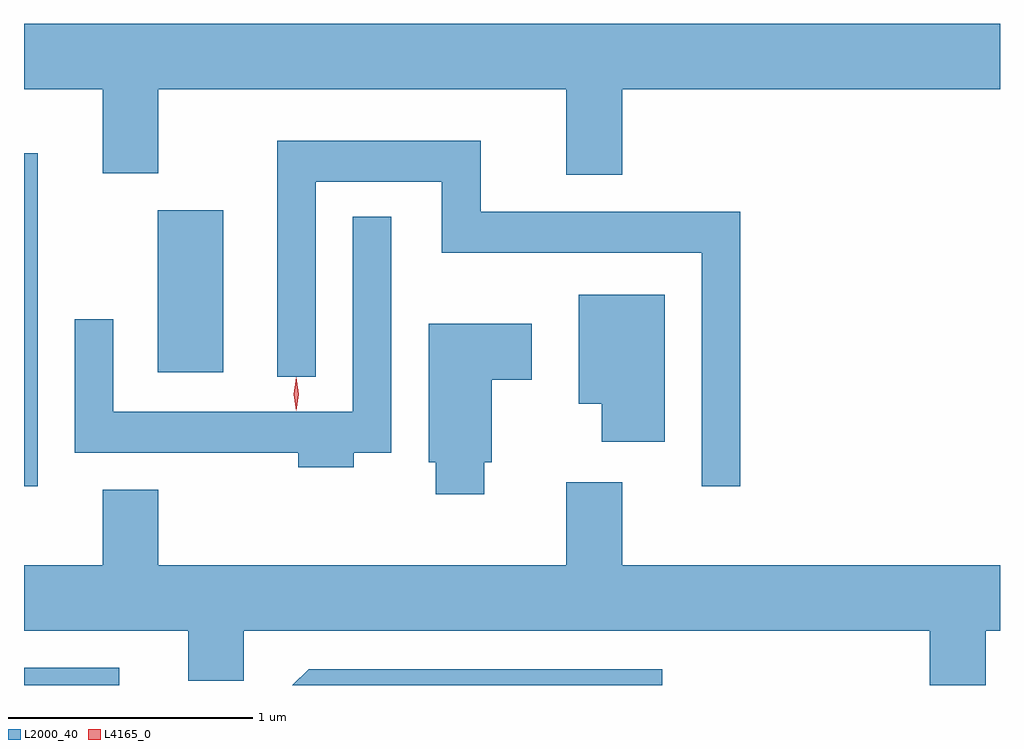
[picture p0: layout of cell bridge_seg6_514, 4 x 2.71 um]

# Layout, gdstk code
import gdstk
lib = gdstk.Library(unit=1e-6, precision=1e-09)
def R(c, l, rs):  # rectangles x0, y0, x1, y1
    for r in rs: c.add(gdstk.rectangle(r[:2], r[2:], *l))
def P(c, l, *ps):  # polygons
    for p in ps: c.add(gdstk.Polygon(p, *l))
L2000_40 = (2000, 40)
L4165_0 = (4165, 0)

bridge_seg6_514 = lib.new_cell('bridge_seg6_514')
R(bridge_seg6_514, L2000_40, [(528.848,1649.713,529.239,1649.784), (528.848,1650.528,528.904,1651.894), (529.396,1650.996,529.664,1651.659)])
P(bridge_seg6_514, L2000_40, [(531.299,1652.156),(532.848,1652.156),(532.848,1652.424),(528.848,1652.424),(528.848,1652.156),(529.171,1652.156),(529.171,1651.811),(529.399,1651.811),(529.399,1652.156),(531.071,1652.156),(531.071,1651.806),(531.299,1651.806)],
  [(531.784,1651.654),(530.719,1651.654),(530.719,1651.944),(529.886,1651.944),(529.886,1650.978),(530.044,1650.978),(530.044,1651.776),(530.561,1651.776),(530.561,1651.486),(531.626,1651.486),(531.626,1650.528),(531.784,1650.528)],
  [(530.199,1650.666),(530.354,1650.666),(530.354,1651.633),(530.196,1651.633),(530.196,1650.834),(529.214,1650.834),(529.214,1651.213),(529.056,1651.213),(529.056,1650.666),(529.971,1650.666),(529.971,1650.606),(530.199,1650.606)],
  [(531.474,1651.314),(531.121,1651.314),(531.121,1650.866),(531.216,1650.866),(531.216,1650.711),(531.474,1650.711)],
  [(530.734,1650.626),(530.764,1650.626),(530.764,1650.966),(530.929,1650.966),(530.929,1651.194),(530.506,1651.194),(530.506,1650.626),(530.536,1650.626),(530.536,1650.496),(530.734,1650.496)],
  [(532.789,1649.936),(532.848,1649.936),(532.848,1650.204),(531.299,1650.204),(531.299,1650.544),(531.071,1650.544),(531.071,1650.204),(529.399,1650.204),(529.399,1650.514),(529.171,1650.514),(529.171,1650.204),(528.848,1650.204),(528.848,1649.936),(529.521,1649.936),(529.521,1649.731),(529.749,1649.731),(529.749,1649.936),(532.561,1649.936),(532.561,1649.713),(532.789,1649.713)],
  [(531.464,1649.779),(530.014,1649.779),(529.948,1649.713),(531.464,1649.713)])
P(bridge_seg6_514, L4165_0, [(529.964,1650.837),(529.963,1650.838),(529.954,1650.906),(529.963,1650.976),(529.964,1650.976),(529.964,1650.976),(529.974,1650.906),(529.964,1650.838)],
  [(529.964,1650.839),(529.963,1650.84),(529.954,1650.906),(529.963,1650.972),(529.964,1650.973),(529.964,1650.972),(529.974,1650.906),(529.964,1650.84)])

lib.write_gds('bridge_seg6_514.gds')
